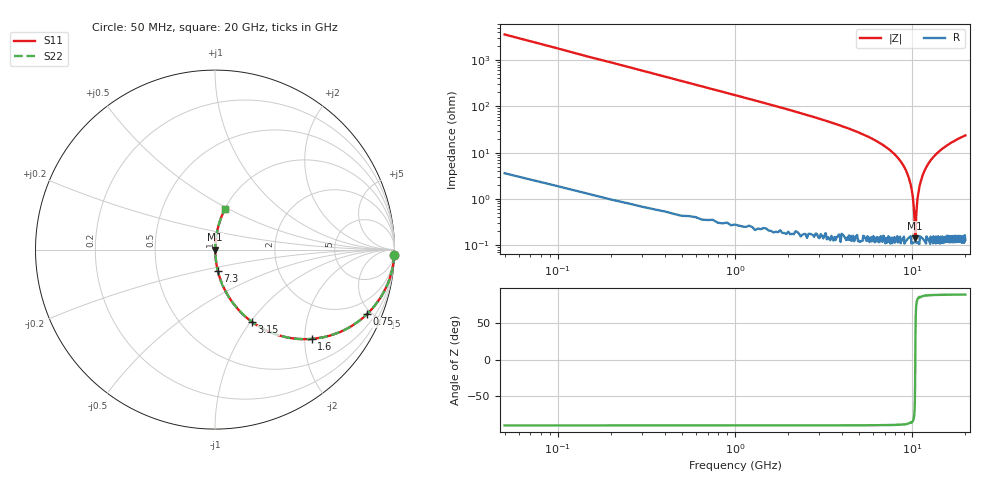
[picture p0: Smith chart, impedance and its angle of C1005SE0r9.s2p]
!	AVX	Thin	Film	Operation
!	Date:	March 2012
!	Description: Ultra-Miniature 01005 Size ACCU - P® Thin Film RF / Microwave Capacitor
!	Part Number:  C005YK0R9ABSTR
!	Serial	Measurements
# MHZ S MA R 50
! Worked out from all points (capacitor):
!   400 points, 50 MHz to 20 GHz, reference 50 ohm
!   read as one part in series: C = 900 fF near 150 MHz
!   lowest |Z| = 140 mohm at 10.4 GHz (marker M1)
!   series resonance near 10.42 GHz, so ESL is about 260 pH
!   S11 on the Smith chart (normalised r, x): 50 MHz: 0, -71; 750 MHz: 1.01, -4.69; 1.6 GHz: 1.00, -2.16; 3.15 GHz: 1.00, -1.02; 7.3 GHz: 1.00, -0.25; 20 GHz: 1.00, +0.47
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50  1 -1.6  0.028 88.3  0.028 88.3  1 -1.6
150  0.996 -4.8  0.085 85.1  0.085 85.1  0.996 -4.8
250  0.99 -8.1  0.14 81.9  0.14 81.9  0.99 -8.1
750  0.919 -23.1  0.392 66.8  0.392 66.8  0.919 -23.1
1600  0.733 -42.8  0.679 47.1  0.679 47.1  0.733 -42.8
3150  0.454 -62.8  0.89 27.0  0.89 27.0  0.454 -62.8
3400  0.421 -64.9  0.906 24.9  0.906 24.9  0.421 -64.9
6700  0.153 -80.7  0.987 8.8  0.987 8.8  0.153 -80.7
7300  0.122 -82.3  0.991 7.0  0.991 7.0  0.122 -82.3
9250  0.041 -85.8  0.998 2.3  0.998 2.3  0.041 -85.8
9750  0.023 -85.4  0.998 1.3  0.998 1.3  0.023 -85.4
10050  0.012 -83.2  0.999 0.7  0.999 0.7  0.012 -83.2
10250  0.005865 -76.7  0.999 0.3  0.999 0.3  0.005865 -76.7
10400  0.001537 -31.0  0.999 0.0  0.999 0.0  0.001537 -31.0
10450  0.001559 32.2  0.999 -0.0  0.999 -0.0  0.001559 32.2
10550  0.004268 71.8  0.999 -0.2  0.999 -0.2  0.004268 71.8
10750  0.011 82.2  0.999 -0.6  0.999 -0.6  0.011 82.2
11150  0.023 85.4  0.998 -1.3  0.998 -1.3  0.023 85.4
12100  0.051 85.6  0.997 -2.9  0.997 -2.9  0.051 85.6
13350  0.084 84.3  0.995 -4.8  0.995 -4.8  0.084 84.3
16700  0.163 80.1  0.985 -9.4  0.985 -9.4  0.163 80.1
20000  0.23 76.3  0.972 -13.3  0.972 -13.3  0.23 76.3
